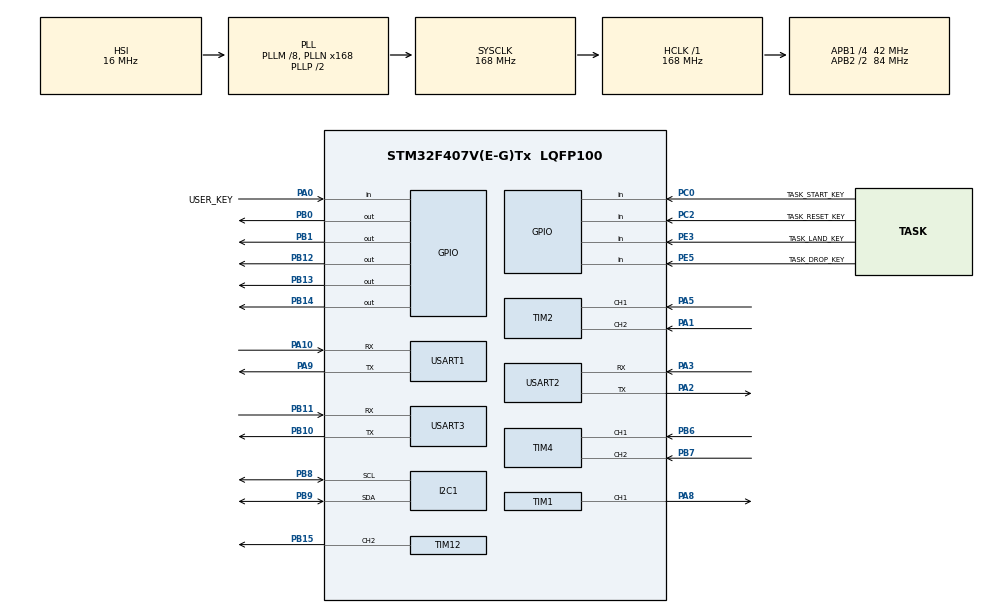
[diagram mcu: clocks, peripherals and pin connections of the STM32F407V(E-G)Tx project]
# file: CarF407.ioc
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Dma.Request0=USART3_RX
Dma.Request1=USART3_TX
Dma.USART3_RX.0.Direction=DMA_PERIPH_TO_MEMORY
Dma.USART3_RX.0.FIFOMode=DMA_FIFOMODE_DISABLE
Dma.USART3_RX.0.Instance=DMA1_Stream1
Dma.USART3_RX.0.MemDataAlignment=DMA_MDATAALIGN_BYTE
Dma.USART3_RX.0.MemInc=DMA_MINC_ENABLE
Dma.USART3_RX.0.Mode=DMA_CIRCULAR
Dma.USART3_RX.0.PeriphDataAlignment=DMA_PDATAALIGN_BYTE
Dma.USART3_RX.0.PeriphInc=DMA_PINC_DISABLE
Dma.USART3_RX.0.Priority=DMA_PRIORITY_HIGH
Dma.USART3_TX.1.Direction=DMA_MEMORY_TO_PERIPH
Dma.USART3_TX.1.FIFOMode=DMA_FIFOMODE_DISABLE
Dma.USART3_TX.1.Instance=DMA1_Stream3
Dma.USART3_TX.1.MemDataAlignment=DMA_MDATAALIGN_BYTE
Dma.USART3_TX.1.MemInc=DMA_MINC_ENABLE
Dma.USART3_TX.1.Mode=DMA_NORMAL
Dma.USART3_TX.1.PeriphDataAlignment=DMA_PDATAALIGN_BYTE
Dma.USART3_TX.1.PeriphInc=DMA_PINC_DISABLE
Dma.USART3_TX.1.Priority=DMA_PRIORITY_MEDIUM
I2C1.I2C_Mode=I2C_Fast
Mcu.Family=STM32F4
Mcu.Name=STM32F407V(E-G)Tx
Mcu.Package=LQFP100
NVIC.DMA1_Stream1_IRQn=true\:0\:0\:false\:false\:true\:false\:true\:true
NVIC.DMA1_Stream3_IRQn=true\:0\:0\:false\:false\:true\:false\:true\:true
NVIC.PriorityGroup=NVIC_PRIORITYGROUP_4
NVIC.USART1_IRQn=true\:0\:0\:false\:false\:true\:true\:true\:true
NVIC.USART2_IRQn=true\:0\:0\:false\:false\:true\:true\:true\:true
NVIC.USART3_IRQn=true\:0\:0\:false\:false\:true\:true\:true\:true
PA0-WKUP.GPIO_Label=USER_KEY
PA0-WKUP.Signal=GPIO_Input
PA1.GPIO_Speed=GPIO_SPEED_FREQ_HIGH
PA1.Signal=S_TIM2_CH2
PA10.Mode=Asynchronous
PA10.Signal=USART1_RX
PA13.Mode=Serial_Wire
PA13.Signal=SYS_JTMS-SWDIO
PA14.Mode=Serial_Wire
PA14.Signal=SYS_JTCK-SWCLK
PA2.Mode=Asynchronous
PA2.Signal=USART2_TX
PA3.Mode=Asynchronous
PA3.Signal=USART2_RX
PA5.GPIO_Speed=GPIO_SPEED_FREQ_HIGH
PA5.Signal=S_TIM2_CH1_ETR
PA8.Signal=S_TIM1_CH1
PA9.Mode=Asynchronous
PA9.Signal=USART1_TX
PB0.Signal=GPIO_Output
PB1.Signal=GPIO_Output
PB10.Mode=Asynchronous
PB10.Signal=USART3_TX
PB11.Mode=Asynchronous
PB11.Signal=USART3_RX
PB12.Signal=GPIO_Output
PB13.Signal=GPIO_Output
PB14.Signal=GPIO_Output
PB15.Signal=S_TIM12_CH2
PB6.Signal=S_TIM4_CH1
PB7.Signal=S_TIM4_CH2
PB8.Mode=I2C
PB8.Signal=I2C1_SCL
PB9.Mode=I2C
PB9.Signal=I2C1_SDA
PC0.GPIO_Label=TASK_START_KEY
PC0.GPIO_PuPd=GPIO_PULLUP
PC0.Signal=GPIO_Input
PC2.GPIO_Label=TASK_RESET_KEY
PC2.GPIO_PuPd=GPIO_PULLUP
PC2.Signal=GPIO_Input
PE3.GPIO_Label=TASK_LAND_KEY
PE3.GPIO_PuPd=GPIO_PULLUP
PE3.Signal=GPIO_Input
PE5.GPIO_Label=TASK_DROP_KEY
PE5.GPIO_PuPd=GPIO_PULLUP
PE5.Signal=GPIO_Input
ProjectManager.HeapSize=0x200
ProjectManager.StackSize=0x400
ProjectManager.TargetToolchain=CMake
RCC.48MHZClocksFreq_Value=84000000
RCC.AHBFreq_Value=168000000
RCC.APB1CLKDivider=RCC_HCLK_DIV4
RCC.APB1Freq_Value=42000000
RCC.APB1TimFreq_Value=84000000
RCC.APB2CLKDivider=RCC_HCLK_DIV2
RCC.APB2Freq_Value=84000000
RCC.APB2TimFreq_Value=168000000
RCC.CortexFreq_Value=168000000
RCC.HCLKFreq_Value=168000000
RCC.HSE_VALUE=8000000
RCC.HSI_VALUE=16000000
RCC.LSE_VALUE=32768
RCC.PLLM=8
RCC.PLLN=168
RCC.SYSCLKFreq_VALUE=168000000
RCC.SYSCLKSource=RCC_SYSCLKSOURCE_PLLCLK
RCC.VCOOutputFreq_Value=336000000
SH.S_TIM12_CH2.0=TIM12_CH2,PWM Generation2 CH2
SH.S_TIM1_CH1.0=TIM1_CH1,PWM Generation1 CH1
SH.S_TIM2_CH1_ETR.0=TIM2_CH1,Encoder_Interface
SH.S_TIM2_CH2.0=TIM2_CH2,Encoder_Interface
SH.S_TIM4_CH1.0=TIM4_CH1,Encoder_Interface
SH.S_TIM4_CH2.0=TIM4_CH2,Encoder_Interface
TIM1.AutoReloadPreload=TIM_AUTORELOAD_PRELOAD_DISABLE
TIM1.Channel-PWM\ Generation1\ CH1=TIM_CHANNEL_1
TIM1.Period=8399
TIM1.Prescaler=0
TIM1.Pulse-PWM\ Generation1\ CH1=0
TIM12.Channel-PWM\ Generation2\ CH2=TIM_CHANNEL_2
TIM12.Period=4199
TIM2.ClockDivision=TIM_CLOCKDIVISION_DIV1
TIM2.EncoderMode=TIM_ENCODERMODE_TI12
TIM2.IC1Filter=4
TIM2.IC2Filter=4
TIM4.EncoderMode=TIM_ENCODERMODE_TI12
TIM4.IC1Filter=4
TIM4.IC2Filter=4
TIM6.Period=999
TIM6.Prescaler=83
USART1.VirtualMode=VM_ASYNC
USART2.VirtualMode=VM_ASYNC
USART3.VirtualMode=VM_ASYNC
VP_TIM6_VS_ClockSourceINT.Mode=Enable_Timer
board=custom

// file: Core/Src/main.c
/* USER CODE BEGIN Header */
/**
  ******************************************************************************
  * @file           : main.c
  * @brief          : Main program body
  ******************************************************************************
  * @attention
  *
  * Copyright (c) 2026 STMicroelectronics.
  * All rights reserved.
  *
  * This software is licensed under terms that can be found in the LICENSE file
  * in the root directory of this software component.
  * If no LICENSE file comes with this software, it is provided AS-IS.
  *
  ******************************************************************************
  */
/* USER CODE END Header */
#include "main.h"
#include "dma.h"
#include "i2c.h"
#include "tim.h"
#include "usart.h"
#include "gpio.h"

/* USER CODE BEGIN Includes */
#include "board_io.h"
#include "car_control.h"
#include "car_link.h"
#include "car_mission.h"
#include "car_odometry.h"
#include "k230_vision.h"
#include "line_follow.h"
/* USER CODE END Includes */

void SystemClock_Config(void);

int main(void)
{

  /* MCU Configuration--------------------------------------------------------*/

  /* Reset of all peripherals, Initializes the Flash interface and the Systick. */
  HAL_Init();

  /* Configure the system clock */
  SystemClock_Config();

  /* Initialize all configured peripherals */
  MX_GPIO_Init();
  MX_DMA_Init();
  MX_I2C1_Init();
  MX_TIM1_Init();
  MX_TIM2_Init();
  MX_TIM6_Init();
  MX_USART3_UART_Init();
  MX_USART2_UART_Init();
  MX_TIM12_Init();
  MX_TIM4_Init();
  MX_USART1_UART_Init();
  /* USER CODE BEGIN 2 */
  BoardKeys_Init();
  if (CarControl_Init() != HAL_OK)
  {
    Error_Handler();
  }
  LineFollow_Init();
  CarOdometry_Init();
  CarMission_Init();
  if (CarLink_Init(&huart2, &huart1) != HAL_OK)
  {
    CarControl_EmergencyStop();
    Error_Handler();
  }
  if (K230Vision_Init() != HAL_OK)
  {
    /*
     * 视觉串口启动失败时不进入Error_Handler，保留VOFA+诊断能力；
     * LineFollow_Init已经把两轮目标清零，因此小车会保持安全停车。
     */
    CarControl_EmergencyStop();
  }
  /* USER CODE END 2 */

  /* Infinite loop */
  while (1)
  {

    /* USER CODE BEGIN 3 */
    K230Vision_Task();
    CarLink_Task();
    CarControl_Task();
    CarOdometry_Task();
    CarMission_Task();
    LineFollow_Task();
    CarLink_Task();
  }
  /* USER CODE END 3 */
}

void SystemClock_Config(void)
{
  RCC_OscInitTypeDef RCC_OscInitStruct = {0};
  RCC_ClkInitTypeDef RCC_ClkInitStruct = {0};

  /** Configure the main internal regulator output voltage
  */
  __HAL_RCC_PWR_CLK_ENABLE();
  __HAL_PWR_VOLTAGESCALING_CONFIG(PWR_REGULATOR_VOLTAGE_SCALE1);

  /** Initializes the RCC Oscillators according to the specified parameters
  * in the RCC_OscInitTypeDef structure.
  */
  RCC_OscInitStruct.OscillatorType = RCC_OSCILLATORTYPE_HSI;
  RCC_OscInitStruct.HSIState = RCC_HSI_ON;
  RCC_OscInitStruct.HSICalibrationValue = RCC_HSICALIBRATION_DEFAULT;
  RCC_OscInitStruct.PLL.PLLState = RCC_PLL_ON;
  RCC_OscInitStruct.PLL.PLLSource = RCC_PLLSOURCE_HSI;
  RCC_OscInitStruct.PLL.PLLM = 8;
  RCC_OscInitStruct.PLL.PLLN = 168;
  RCC_OscInitStruct.PLL.PLLP = RCC_PLLP_DIV2;
  RCC_OscInitStruct.PLL.PLLQ = 4;
  if (HAL_RCC_OscConfig(&RCC_OscInitStruct) != HAL_OK)
  {
    Error_Handler();
  }

  /** Initializes the CPU, AHB and APB buses clocks
  */
  RCC_ClkInitStruct.ClockType = RCC_CLOCKTYPE_HCLK|RCC_CLOCKTYPE_SYSCLK
                              |RCC_CLOCKTYPE_PCLK1|RCC_CLOCKTYPE_PCLK2;
  RCC_ClkInitStruct.SYSCLKSource = RCC_SYSCLKSOURCE_PLLCLK;
  RCC_ClkInitStruct.AHBCLKDivider = RCC_SYSCLK_DIV1;
  RCC_ClkInitStruct.APB1CLKDivider = RCC_HCLK_DIV4;
  RCC_ClkInitStruct.APB2CLKDivider = RCC_HCLK_DIV2;

  if (HAL_RCC_ClockConfig(&RCC_ClkInitStruct, FLASH_LATENCY_5) != HAL_OK)
  {
    Error_Handler();
  }
}

void Error_Handler(void)
{
  __disable_irq();
  while (1)
  {
  }
}
